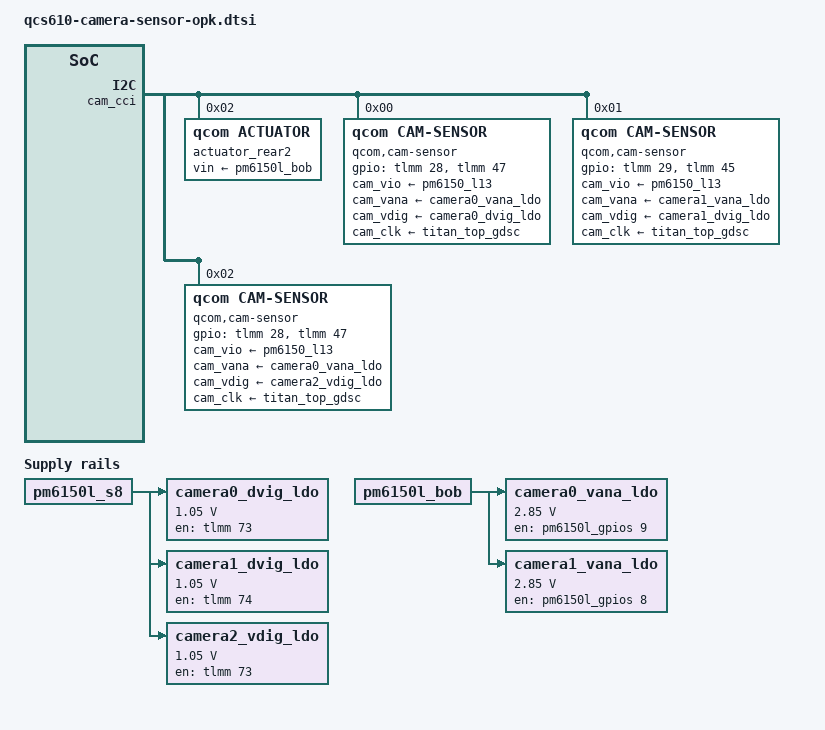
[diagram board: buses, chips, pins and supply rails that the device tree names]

&soc {
	camera0_dvig_ldo: gpio-regulator@0 {
		compatible = "regulator-fixed";
		reg = <0x00 0x00>;
		regulator-name = "camera0_dvig_ldo";
		regulator-min-microvolt = <1050000>;
		regulator-max-microvolt = <1050000>;
		regulator-enable-ramp-delay = <233>;
		enable-active-high;
		gpio = <&tlmm 73 0>;
		vin-supply = <&pm6150l_s8>;
	};

	camera0_vana_ldo: gpio-regulator@1 {
		compatible = "regulator-fixed";
		reg = <0x01 0x00>;
		regulator-name = "camera0_vana_ldo";
		regulator-min-microvolt = <2850000>;
		regulator-max-microvolt = <2850000>;
		regulator-enable-ramp-delay = <233>;
		enable-active-high;
		gpio = <&pm6150l_gpios 9 0>;
		pinctrl-names = "default";
		pinctrl-0 = <&cam_sensor_0_vana_default>;
		vin-supply = <&pm6150l_bob>;
	};

	camera1_dvig_ldo: gpio-regulator@2 {
		compatible = "regulator-fixed";
		reg = <0x02 0x00>;
		regulator-name = "camera1_dvig_ldo";
		regulator-min-microvolt = <1050000>;
		regulator-max-microvolt = <1050000>;
		regulator-enable-ramp-delay = <233>;
		enable-active-high;
		gpio = <&tlmm 74 0>;
		vin-supply = <&pm6150l_s8>;
	};

	camera1_vana_ldo: gpio-regulator@3 {
		compatible = "regulator-fixed";
		reg = <0x03 0x00>;
		regulator-name = "camera1_vana_ldo";
		regulator-min-microvolt = <2850000>;
		regulator-max-microvolt = <2850000>;
		regulator-enable-ramp-delay = <233>;
		enable-active-high;
		gpio = <&pm6150l_gpios 8 0>;
		pinctrl-names = "default";
		pinctrl-0 = <&cam_sensor_1_vana_default>;
		vin-supply = <&pm6150l_bob>;
	};

	camera2_vdig_ldo: gpio-regulator@4 {
		compatible = "regulator-fixed";
		reg = <0x04 0x00>;
		regulator-name = "camera2_vdig_ldo";
		regulator-min-microvolt = <1050000>;
		regulator-max-microvolt = <1050000>;
		regulator-enable-ramp-delay = <233>;
		enable-active-high;
		gpio = <&tlmm 73 0>;
		vin-supply = <&pm6150l_s8>;
	};

	qcom,cam-res-mgr {
		compatible = "qcom,cam-res-mgr";
		status = "ok";
	};
};

&cam_cci {
	actuator_rear2: actuator@2 {
		cell-index = <2>;
		reg = <0x2>;
		compatible = "qcom,actuator";
		cci-master = <0>;
		regulator-names = "cam_vaf";
		rgltr-min-voltage = <3800000>;
		rgltr-max-voltage = <3800000>;
		rgltr-load-current = <100000>;
		vin-supply = <&pm6150l_bob>;
		status = "ok";
	};

	qcom,cam-sensor@0 {
		cell-index = <0>;
		compatible = "qcom,cam-sensor";
		reg = <0x0>;
		csiphy-sd-index = <0>;
		sensor-position-roll = <90>;
		sensor-position-pitch = <0>;
		sensor-position-yaw = <180>;
		cam_vio-supply = <&pm6150_l13>;
		cam_vana-supply = <&camera0_vana_ldo>;
		cam_vdig-supply = <&camera0_dvig_ldo>;
		cam_clk-supply = <&titan_top_gdsc>;
		regulator-names = "cam_vio", "cam_vana", "cam_vdig",
			"cam_clk";
		rgltr-cntrl-support;
		rgltr-min-voltage = <1800000 2850000 1050000 0>;
		rgltr-max-voltage = <1800000 2850000 1050000 0>;
		rgltr-load-current = <0 80000 105000 0>;
		gpio-no-mux = <0>;
		pinctrl-names = "cam_default", "cam_suspend";
		pinctrl-0 = <&cam_sensor_mclk0_active
				&cam_sensor_rear_active>;
		pinctrl-1 = <&cam_sensor_mclk0_suspend
				&cam_sensor_rear_suspend>;
		gpios = <&tlmm 28 0>,
			<&tlmm 47 0>;
		gpio-reset = <1>;
		gpio-req-tbl-num = <0 1>;
		gpio-req-tbl-flags = <1 0>;
		gpio-req-tbl-label = "CAMIF_MCLK0",
					"CAM_RESET0";
		sensor-mode = <0>;
		cci-master = <0>;
		status = "ok";
		clocks = <&camcc CAM_CC_MCLK0_CLK>;
		clock-names = "cam_clk";
		clock-cntl-level = "turbo";
		clock-rates = <24000000>;
	};

	qcom,cam-sensor@1 {
		cell-index = <1>;
		compatible = "qcom,cam-sensor";
		reg = <0x1>;
		csiphy-sd-index = <1>;
		sensor-position-roll = <90>;
		sensor-position-pitch = <0>;
		sensor-position-yaw = <180>;
		cam_vio-supply = <&pm6150_l13>;
		cam_vana-supply = <&camera1_vana_ldo>;
		cam_vdig-supply = <&camera1_dvig_ldo>;
		cam_clk-supply = <&titan_top_gdsc>;
		regulator-names = "cam_vio", "cam_vana", "cam_vdig",
			"cam_clk";
		rgltr-cntrl-support;
		rgltr-min-voltage = <1800000 2850000 1050000 0>;
		rgltr-max-voltage = <1800000 2850000 1050000 0>;
		rgltr-load-current = <0 80000 105000 0>;
		gpio-no-mux = <0>;
		pinctrl-names = "cam_default", "cam_suspend";
		pinctrl-0 = <&cam_sensor_mclk1_active
				&cam_sensor_rear2_active>;
		pinctrl-1 = <&cam_sensor_mclk1_suspend
				&cam_sensor_rear2_suspend>;
		gpios = <&tlmm 29 0>,
			<&tlmm 45 0>;
		gpio-reset = <1>;
		gpio-req-tbl-num = <0 1>;
		gpio-req-tbl-flags = <1 0>;
		gpio-req-tbl-label = "CAMIF_MCLK1",
					"CAM_RESET1";
		sensor-mode = <0>;
		cci-master = <1>;
		status = "ok";
		clocks = <&camcc CAM_CC_MCLK1_CLK>;
		clock-names = "cam_clk";
		clock-cntl-level = "turbo";
		clock-rates = <24000000>;
	};

	qcom,cam-sensor@2 {
		cell-index = <2>;
		compatible = "qcom,cam-sensor";
		reg = <0x2>;
		csiphy-sd-index = <0>;
		sensor-position-roll = <90>;
		sensor-position-pitch = <0>;
		sensor-position-yaw = <180>;
		actuator-src = <&actuator_rear2>;
		cam_vio-supply = <&pm6150_l13>;
		cam_vana-supply = <&camera0_vana_ldo>;
		cam_vdig-supply = <&camera2_vdig_ldo>;
		cam_clk-supply = <&titan_top_gdsc>;
		regulator-names = "cam_vio", "cam_vana", "cam_vdig",
			"cam_clk";
		rgltr-cntrl-support;
		rgltr-min-voltage = <1800000 2850000 1050000 0>;
		rgltr-max-voltage = <1800000 2850000 1050000 0>;
		rgltr-load-current = <0 80000 105000 0>;
		gpio-no-mux = <0>;
		pinctrl-names = "cam_default", "cam_suspend";
		pinctrl-0 = <&cam_sensor_mclk0_active
				&cam_sensor_rear_active>;
		pinctrl-1 = <&cam_sensor_mclk0_suspend
				&cam_sensor_rear_suspend>;
		gpios = <&tlmm 28 0>,
			<&tlmm 47 0>;
		gpio-reset = <1>;
		gpio-req-tbl-num = <0 1>;
		gpio-req-tbl-flags = <1 0>;
		gpio-req-tbl-label = "CAMIF_MCLK2",
					"CAM_RESET2";
		sensor-mode = <0>;
		cci-master = <0>;
		status = "ok";
		clocks = <&camcc CAM_CC_MCLK0_CLK>;
		clock-names = "cam_clk";
		clock-cntl-level = "turbo";
		clock-rates = <24000000>;
	};
};
